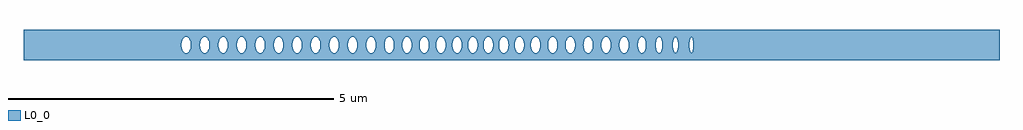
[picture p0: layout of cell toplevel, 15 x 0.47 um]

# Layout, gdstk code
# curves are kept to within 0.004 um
import gdstk
lib = gdstk.Library(unit=1e-6, precision=1e-09)
def P(c, l, *ps):  # polygons
    for p in ps: c.add(gdstk.Polygon(p, *l))
L0_0 = (0, 0)

toplevel = lib.new_cell('toplevel')
P(toplevel, L0_0, [(-4.423,-0.234),(-4.423,-0.126),(-4.446,-0.125),(-4.475,-0.103),(-4.491,-0.075),(-4.504,-0.016),(-4.498,0.054),(-4.482,0.093),(-4.459,0.119),(-4.423,0.126),(-4.423,0.234),(-7.5,0.234),(-7.5,-0.008),(-5.073,-0.008),(-5.068,0.047),(-5.05,0.093),(-5.027,0.119),(-5.001,0.128),(-4.974,0.119),(-4.951,0.093),(-4.933,0.047),(-4.928,-0.008),(-4.789,-0.008),(-4.784,0.047),(-4.766,0.093),(-4.743,0.119),(-4.716,0.128),(-4.69,0.119),(-4.67,0.098),(-4.655,0.068),(-4.644,0.016),(-4.647,-0.039),(-4.658,-0.075),(-4.681,-0.112),(-4.716,-0.128),(-4.743,-0.119),(-4.766,-0.093),(-4.784,-0.047),(-4.789,-0.008),(-4.928,-0.008),(-4.939,-0.068),(-4.954,-0.098),(-4.974,-0.119),(-5.001,-0.128),(-5.027,-0.119),(-5.047,-0.098),(-5.062,-0.068),(-5.073,-0.008),(-7.5,-0.008),(-7.5,-0.234)],
  [(2.246,0.112),(2.272,0.124),(2.299,0.1),(2.317,0.046),(2.32,-0.008),(2.478,-0.008),(2.483,0.059),(2.493,0.094),(2.507,0.116),(2.523,0.122),(2.543,0.103),(2.554,0.072),(2.561,-0.022),(2.733,-0.022),(2.741,0.082),(2.753,0.112),(2.767,0.12),(2.778,0.109),(2.788,0.082),(2.796,-0.022),(2.788,-0.082),(2.778,-0.109),(2.767,-0.12),(2.753,-0.112),(2.744,-0.092),(2.733,-0.022),(2.561,-0.022),(2.545,-0.099),(2.531,-0.118),(2.518,-0.122),(2.507,-0.116),(2.493,-0.094),(2.478,-0.008),(2.32,-0.008),(2.314,-0.06),(2.29,-0.112),(2.265,-0.124),(2.252,-0.118),(2.238,-0.1),(2.238,-0.234),(7.5,-0.234),(7.5,0.234),(2.238,0.234),(2.238,0.1)],
  [(-4.423,0.234),(-4.423,0.126),(-4.405,0.119),(-4.382,0.093),(-4.36,0.016),(-4.362,-0.032),(-4.373,-0.075),(-4.393,-0.108),(-4.423,-0.126),(-4.423,-0.234),(-4.08,-0.234),(-4.08,-0.047),(-4.109,-0.108),(-4.121,-0.119),(-4.148,-0.128),(-4.174,-0.119),(-4.194,-0.098),(-4.209,-0.068),(-4.22,-0.016),(-4.218,0.032),(-4.209,0.068),(-4.187,0.108),(-4.166,0.123),(-4.143,0.127),(-4.113,0.112),(-4.098,0.093),(-4.08,0.047),(-4.08,0.234)],
  [(-4.075,0.008),(-4.075,-0.008),(-3.936,-0.008),(-3.931,0.047),(-3.91,0.098),(-3.877,0.125),(-3.863,0.128),(-3.837,0.119),(-3.805,0.075),(-3.792,0.024),(-3.796,-0.047),(-3.817,-0.098),(-3.85,-0.125),(-3.863,-0.128),(-3.89,-0.119),(-3.91,-0.098),(-3.925,-0.068),(-3.936,-0.008),(-4.075,-0.008),(-4.08,-0.047),(-4.08,-0.234),(-3.646,-0.234),(-3.646,-0.047),(-3.652,0),(-3.646,0.046),(-3.646,0.234),(-4.08,0.234),(-4.08,0.046)],
  [(-3.51,-0.039),(-3.523,-0.081),(-3.54,-0.108),(-3.552,-0.119),(-3.579,-0.128),(-3.606,-0.119),(-3.618,-0.108),(-3.638,-0.075),(-3.646,-0.047),(-3.646,-0.234),(-3.33,-0.234),(-3.33,-0.112),(-3.351,-0.081),(-3.367,-0.016),(-3.365,0.032),(-3.356,0.068),(-3.33,0.112),(-3.33,0.234),(-3.646,0.234),(-3.646,0.047),(-3.629,0.093),(-3.606,0.119),(-3.579,0.128),(-3.552,0.119),(-3.526,0.087),(-3.512,0.047),(-3.507,0.016)],
  [(-3.321,0.119),(-3.295,0.128),(-3.268,0.119),(-3.256,0.108),(-3.231,0.061),(-3.222,0),(-3.231,-0.061),(-3.256,-0.108),(-3.268,-0.119),(-3.295,-0.128),(-3.33,-0.112),(-3.33,-0.234),(-2.997,-0.234),(-2.997,-0.125),(-3.029,-0.123),(-3.057,-0.098),(-3.072,-0.068),(-3.083,-0.008),(-3.078,0.047),(-3.057,0.098),(-3.029,0.123),(-2.997,0.125),(-2.997,0.234),(-3.33,0.234),(-3.33,0.112)],
  [(-2.939,-0.016),(-2.943,-0.047),(-2.961,-0.093),(-2.976,-0.112),(-2.997,-0.125),(-2.997,-0.234),(-2.68,-0.234),(-2.68,-0.098),(-2.713,-0.125),(-2.726,-0.128),(-2.753,-0.119),(-2.785,-0.075),(-2.799,0),(-2.785,0.075),(-2.753,0.119),(-2.726,0.128),(-2.713,0.125),(-2.68,0.098),(-2.68,0.234),(-2.997,0.234),(-2.997,0.125),(-2.972,0.108),(-2.949,0.068),(-2.939,0.024)],
  [(-2.372,-0.032),(-2.383,-0.075),(-2.399,-0.103),(-2.415,-0.119),(-2.442,-0.128),(-2.469,-0.119),(-2.488,-0.098),(-2.503,-0.068),(-2.514,-0.016),(-2.511,0.039),(-2.498,0.081),(-2.481,0.108),(-2.455,0.125),(-2.428,0.125),(-2.403,0.108),(-2.383,0.075),(-2.372,0.032),(-2.372,0.234),(-2.68,0.234),(-2.68,0.098),(-2.665,0.068),(-2.654,0.016),(-2.657,-0.039),(-2.68,-0.098),(-2.68,-0.234),(-2.372,-0.234)],
  [(-2.372,-0.032),(-2.372,-0.234),(-1.925,-0.234),(-1.925,-0.098),(-1.945,-0.054),(-1.951,-0.016),(-1.945,0.054),(-1.925,0.098),(-1.925,0.234),(-2.372,0.234),(-2.37,-0.008),(-2.231,-0.008),(-2.226,0.047),(-2.208,0.093),(-2.185,0.119),(-2.159,0.128),(-2.132,0.119),(-2.112,0.098),(-2.097,0.068),(-2.086,0.008),(-2.091,-0.047),(-2.109,-0.093),(-2.132,-0.119),(-2.159,-0.128),(-2.185,-0.119),(-2.205,-0.098),(-2.22,-0.068),(-2.231,-0.008),(-2.37,-0.008)],
  [(-1.918,0.108),(-1.906,0.119),(-1.879,0.128),(-1.852,0.119),(-1.84,0.108),(-1.82,0.075),(-1.812,0.047),(-1.807,-0.016),(-1.82,-0.075),(-1.852,-0.119),(-1.879,-0.128),(-1.893,-0.125),(-1.925,-0.098),(-1.925,-0.234),(-1.597,-0.234),(-1.597,-0.126),(-1.619,-0.125),(-1.645,-0.108),(-1.667,-0.068),(-1.678,-0.016),(-1.675,0.039),(-1.659,0.087),(-1.632,0.119),(-1.597,0.126),(-1.597,0.234),(-1.925,0.234),(-1.925,0.098)],
  [(-1.537,-0.039),(-1.556,-0.093),(-1.579,-0.119),(-1.597,-0.126),(-1.597,-0.234),(-1.306,-0.234),(-1.306,-0.112),(-1.341,-0.128),(-1.376,-0.112),(-1.397,-0.081),(-1.413,-0.016),(-1.408,0.047),(-1.397,0.081),(-1.38,0.108),(-1.341,0.128),(-1.306,0.112),(-1.306,0.234),(-1.597,0.234),(-1.597,0.126),(-1.567,0.108),(-1.547,0.075),(-1.534,0.016)],
  [(-1.272,-0.039),(-1.282,-0.075),(-1.306,-0.112),(-1.306,-0.234),(-0.908,-0.234),(-0.908,0.234),(-1.306,0.234),(-1.306,0.112),(-1.277,0.061),(-1.268,-0.008),(-1.157,-0.008),(-1.152,0.047),(-1.134,0.093),(-1.111,0.119),(-1.084,0.128),(-1.058,0.119),(-1.038,0.098),(-1.023,0.068),(-1.012,0.016),(-1.015,-0.039),(-1.026,-0.075),(-1.049,-0.112),(-1.084,-0.128),(-1.111,-0.119),(-1.134,-0.093),(-1.152,-0.047),(-1.157,-0.008),(-1.268,-0.008)],
  [(-0.767,-0.039),(-0.777,-0.075),(-0.793,-0.103),(-0.809,-0.119),(-0.836,-0.128),(-0.863,-0.119),(-0.886,-0.093),(-0.908,-0.016),(-0.908,-0.234),(-0.621,-0.234),(-0.621,-0.119),(-0.653,-0.075),(-0.666,-0.016),(-0.658,0.061),(-0.644,0.093),(-0.621,0.119),(-0.621,0.234),(-0.908,0.234),(-0.908,0.016),(-0.895,0.075),(-0.879,0.103),(-0.85,0.125),(-0.822,0.125),(-0.797,0.108),(-0.777,0.075),(-0.764,0.016)],
  [(-0.608,0.125),(-0.594,0.128),(-0.567,0.119),(-0.541,0.087),(-0.525,0.039),(-0.522,-0.016),(-0.535,-0.075),(-0.555,-0.108),(-0.567,-0.119),(-0.594,-0.128),(-0.621,-0.119),(-0.621,-0.234),(-0.325,-0.234),(-0.325,-0.115),(-0.356,-0.128),(-0.391,-0.112),(-0.412,-0.081),(-0.428,-0.016),(-0.423,0.047),(-0.412,0.081),(-0.395,0.108),(-0.356,0.128),(-0.325,0.115),(-0.325,0.234),(-0.621,0.234),(-0.621,0.119)],
  [(-0.325,0.234),(-0.325,0.115),(-0.297,0.075),(-0.283,0),(-0.297,-0.075),(-0.325,-0.115),(-0.325,-0.234),(-0.05,-0.234),(-0.05,-0.039),(-0.072,-0.098),(-0.092,-0.119),(-0.119,-0.128),(-0.145,-0.119),(-0.165,-0.098),(-0.18,-0.068),(-0.191,-0.008),(-0.189,0.032),(-0.177,0.075),(-0.157,0.108),(-0.132,0.125),(-0.105,0.125),(-0.08,0.108),(-0.06,0.075),(-0.05,0.039),(-0.05,0.234)],
  [(-0.047,-0.024),(-0.05,-0.234),(0.305,-0.234),(0.305,-0.054),(0.299,-0.016),(0.305,0.053),(0.305,0.234),(-0.05,0.234),(-0.046,-0.008),(0.049,-0.008),(0.054,0.047),(0.072,0.093),(0.095,0.119),(0.122,0.128),(0.148,0.119),(0.168,0.098),(0.183,0.068),(0.194,0.008),(0.189,-0.047),(0.171,-0.093),(0.148,-0.119),(0.122,-0.128),(0.095,-0.119),(0.075,-0.098),(0.06,-0.068),(0.049,-0.008),(-0.046,-0.008)],
  [(0.44,-0.039),(0.427,-0.081),(0.41,-0.108),(0.398,-0.119),(0.371,-0.128),(0.344,-0.119),(0.332,-0.108),(0.305,-0.054),(0.305,-0.234),(0.598,-0.234),(0.598,-0.112),(0.577,-0.081),(0.561,-0.016),(0.563,0.032),(0.572,0.068),(0.598,0.112),(0.598,0.234),(0.305,0.234),(0.305,0.054),(0.321,0.093),(0.344,0.119),(0.371,0.128),(0.398,0.119),(0.424,0.087),(0.438,0.047),(0.443,0.016)],
  [(0.606,0.119),(0.633,0.128),(0.647,0.125),(0.676,0.103),(0.699,0.054),(0.705,-0.016),(0.692,-0.075),(0.668,-0.112),(0.633,-0.128),(0.598,-0.112),(0.598,-0.234),(0.914,-0.234),(0.914,-0.126),(0.882,-0.121),(0.858,-0.098),(0.843,-0.068),(0.832,-0.008),(0.837,0.047),(0.858,0.098),(0.878,0.119),(0.914,0.126),(0.914,0.234),(0.598,0.234),(0.598,0.112)],
  [(0.976,-0.016),(0.972,-0.047),(0.954,-0.093),(0.931,-0.119),(0.914,-0.126),(0.914,-0.234),(1.221,-0.234),(1.221,-0.103),(1.206,-0.119),(1.179,-0.128),(1.144,-0.112),(1.115,-0.061),(1.106,0),(1.115,0.061),(1.144,0.112),(1.179,0.128),(1.206,0.119),(1.221,0.103),(1.221,0.234),(0.914,0.234),(0.914,0.126),(0.943,0.108),(0.963,0.075),(0.975,0.032)],
  [(1.525,-0.016),(1.521,-0.047),(1.503,-0.093),(1.48,-0.119),(1.453,-0.128),(1.427,-0.119),(1.407,-0.098),(1.392,-0.068),(1.381,-0.016),(1.384,0.039),(1.397,0.081),(1.418,0.112),(1.444,0.126),(1.467,0.125),(1.496,0.103),(1.517,0.061),(1.525,0.016),(1.525,0.234),(1.221,0.234),(1.221,0.103),(1.24,0.068),(1.251,0.016),(1.246,-0.047),(1.221,-0.103),(1.221,-0.234),(1.525,-0.234)],
  [(1.955,0.234),(1.525,0.234),(1.525,-0.008),(1.658,-0.008),(1.663,0.047),(1.681,0.093),(1.704,0.119),(1.73,0.128),(1.757,0.119),(1.777,0.098),(1.794,0.061),(1.803,0.008),(1.798,-0.047),(1.78,-0.093),(1.757,-0.119),(1.73,-0.128),(1.704,-0.119),(1.684,-0.098),(1.669,-0.068),(1.658,-0.008),(1.525,-0.008),(1.525,-0.234),(1.955,-0.234),(1.955,-0.074),(1.943,-0.016),(1.946,0.039),(1.955,0.073)],
  [(1.957,0.08),(1.975,0.11),(1.99,0.122),(2.013,0.125),(2.032,0.114),(2.06,0.061),(2.067,-0.016),(2.06,-0.061),(2.048,-0.092),(2.021,-0.122),(1.997,-0.125),(1.982,-0.117),(1.955,-0.075),(1.955,-0.234),(2.238,-0.234),(2.238,-0.1),(2.224,-0.066),(2.216,-0.008),(2.221,0.053),(2.238,0.1),(2.238,0.234),(1.955,0.234)])

lib.write_gds('toplevel.gds')
